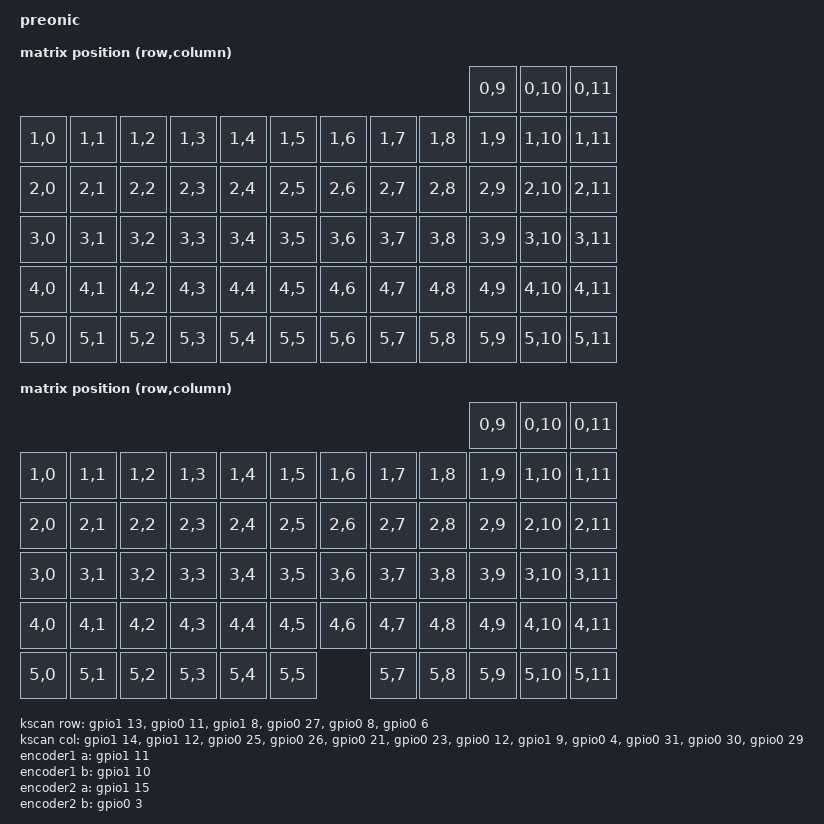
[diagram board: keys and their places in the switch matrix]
/*
 * Copyright (c) 2022 Pete Johanson
 *
 * SPDX-License-Identifier: MIT
 */

/dts-v1/;
#include <nordic/nrf52840_qiaa.dtsi>
#include <dt-bindings/led/led.h>
#include <dt-bindings/zmk/matrix_transform.h>
#include "keyboardio_preonic-layouts.dtsi"

/ {
	model = "preonic";
	compatible = "keyboardio,preonic";

	chosen {
		zephyr,code-partition = &code_partition;
		zephyr,sram = &sram0;
		zephyr,flash = &flash0;
		zmk,battery = &fuelgauge;
		zmk,underglow = &butterfly;
		zmk,kscan = &kscan;
        zmk,physical-layout = &mit_layout;
	};

	ortho_transform: ortho_transform {
		compatible = "zmk,matrix-transform";
		rows = <4>;
		columns = <12>;

		map = <
	                                                                        RC(0,9) RC(0,10) RC(0,11)
	RC(1,0) RC(1,1) RC(1,2) RC(1,3) RC(1,4) RC(1,5) RC(1,6) RC(1,7) RC(1,8) RC(1,9) RC(1,10) RC(1,11)
	RC(2,0) RC(2,1) RC(2,2) RC(2,3) RC(2,4) RC(2,5) RC(2,6) RC(2,7) RC(2,8) RC(2,9) RC(2,10) RC(2,11)
	RC(3,0) RC(3,1) RC(3,2) RC(3,3) RC(3,4) RC(3,5) RC(3,6) RC(3,7) RC(3,8) RC(3,9) RC(3,10) RC(3,11)
	RC(4,0) RC(4,1) RC(4,2) RC(4,3) RC(4,4) RC(4,5) RC(4,6) RC(4,7) RC(4,8) RC(4,9) RC(4,10) RC(4,11)
	RC(5,0) RC(5,1) RC(5,2) RC(5,3) RC(5,4) RC(5,5) RC(5,6) RC(5,7) RC(5,8) RC(5,9) RC(5,10) RC(5,11)
	>;
	};

	mit_transform: mit_transform {
		compatible = "zmk,matrix-transform";
		rows = <4>;
		columns = <12>;

		map = <
	                                                                        RC(0,9) RC(0,10) RC(0,11)
	RC(1,0) RC(1,1) RC(1,2) RC(1,3) RC(1,4) RC(1,5) RC(1,6) RC(1,7) RC(1,8) RC(1,9) RC(1,10) RC(1,11)
	RC(2,0) RC(2,1) RC(2,2) RC(2,3) RC(2,4) RC(2,5) RC(2,6) RC(2,7) RC(2,8) RC(2,9) RC(2,10) RC(2,11)
	RC(3,0) RC(3,1) RC(3,2) RC(3,3) RC(3,4) RC(3,5) RC(3,6) RC(3,7) RC(3,8) RC(3,9) RC(3,10) RC(3,11)
	RC(4,0) RC(4,1) RC(4,2) RC(4,3) RC(4,4) RC(4,5) RC(4,6) RC(4,7) RC(4,8) RC(4,9) RC(4,10) RC(4,11)
	RC(5,0) RC(5,1) RC(5,2) RC(5,3) RC(5,4)     RC(5,5)     RC(5,7) RC(5,8) RC(5,9) RC(5,10) RC(5,11)
	>;
	};

	kscan: kscan {
		compatible = "zmk,kscan-gpio-matrix";

		wakeup-source;

		diode-direction = "col2row";

		col-gpios
			= <&gpio1 14 (GPIO_ACTIVE_HIGH)>
			, <&gpio1 12 (GPIO_ACTIVE_HIGH)>
			, <&gpio0 25 (GPIO_ACTIVE_HIGH)>
			, <&gpio0 26 (GPIO_ACTIVE_HIGH)>
			, <&gpio0 21 (GPIO_ACTIVE_HIGH)>
			, <&gpio0 23 (GPIO_ACTIVE_HIGH)>
			, <&gpio0 12 (GPIO_ACTIVE_HIGH)>
			, <&gpio1 9  (GPIO_ACTIVE_HIGH)>
			, <&gpio0 4  (GPIO_ACTIVE_HIGH)>
			, <&gpio0 31 (GPIO_ACTIVE_HIGH)>
			, <&gpio0 30 (GPIO_ACTIVE_HIGH)>
			, <&gpio0 29 (GPIO_ACTIVE_HIGH)>
			;

		row-gpios
			= <&gpio1 13 (GPIO_ACTIVE_HIGH | GPIO_PULL_DOWN)>
			, <&gpio0 11 (GPIO_ACTIVE_HIGH | GPIO_PULL_DOWN)>
			, <&gpio1 8  (GPIO_ACTIVE_HIGH | GPIO_PULL_DOWN)>
			, <&gpio0 27 (GPIO_ACTIVE_HIGH | GPIO_PULL_DOWN)>
			, <&gpio0 8  (GPIO_ACTIVE_HIGH | GPIO_PULL_DOWN)>
			, <&gpio0 6  (GPIO_ACTIVE_HIGH | GPIO_PULL_DOWN)>
			;
	};

    // The pinout for the keyboard suggests that there are 3 available encoders.
    // However, the physical keyboard only has one...hmm.

    encoder1: encoder1 {
        compatible = "alps,ec11";
        a-gpios = <&gpio1 11 (GPIO_ACTIVE_LOW | GPIO_PULL_UP)>;
        b-gpios = <&gpio1 10 (GPIO_ACTIVE_LOW | GPIO_PULL_UP)>;
        steps = <24>;
        status = "disabled";
    };

    encoder2: encoder2 {
        compatible = "alps,ec11";
        a-gpios = <&gpio1 15 (GPIO_ACTIVE_LOW | GPIO_PULL_UP)>;
        b-gpios = <&gpio0 3  (GPIO_ACTIVE_LOW | GPIO_PULL_UP)>;
        steps = <24>;
        status = "disabled";
    };

    encoder3: encoder3 {
        compatible = "alps,ec11";
        a-gpios = <&gpio0 2  (GPIO_ACTIVE_LOW | GPIO_PULL_UP)>;
        b-gpios = <&gpio0 28 (GPIO_ACTIVE_LOW | GPIO_PULL_UP)>;
        steps = <24>;
        status = "okay";
    };

    sensors {
        compatible = "zmk,keymap-sensors";
        status = "okay";
        sensors = <&encoder3>;
        triggers-per-rotation = <12>;
    };
};

&pinctrl {
       i2c0_default: i2c0_default {
               group1 {
                       psels = <NRF_PSEL(TWIM_SDA, 0, 7)>,
                               <NRF_PSEL(TWIM_SCL, 0, 5)>;
               };
       };

       i2c0_sleep: i2c0_sleep {
               group1 {
                       psels = <NRF_PSEL(TWIM_SDA, 0, 7)>,
                               <NRF_PSEL(TWIM_SCL, 0, 5)>;
                       low-power-enable;
               };
       };

       spi3_default: spi3_default {
               group1 {
                       psels = <NRF_PSEL(SPIM_MOSI, 0, 24)>;
               };
       };

       spi3_sleep: spi3_sleep {
               group1 {
                       psels = <NRF_PSEL(SPIM_MOSI, 0, 24)>;
                       low-power-enable;
               };
       };
};

&spi3 {
    compatible = "nordic,nrf-spim";
    status = "okay";

    pinctrl-0 = <&spi3_default>;
    pinctrl-1 = <&spi3_sleep>;
    pinctrl-names = "default", "sleep";

    butterfly: ws2812@0 {
        compatible = "worldsemi,ws2812-spi";

        reg = <0>;
        spi-max-frequency = <4000000>;

        chain-length = <4>;
        spi-one-frame = <0x70>;
        spi-zero-frame = <0x40>;
        color-mapping = <LED_COLOR_ID_GREEN
                         LED_COLOR_ID_RED
                         LED_COLOR_ID_BLUE>;
    };
};


&i2c0 {
	status = "okay";
	compatible = "nordic,nrf-twim";
	pinctrl-0 = <&i2c0_default>;
	pinctrl-1 = <&i2c0_sleep>;
	pinctrl-names = "default", "sleep";
	clock-frequency = <100000>;

	fuelgauge: max17048@36 {
		compatible = "zmk,maxim-max17048";
		reg = <0x36>;
	};
};

&adc {
	status = "okay";
};

&gpiote {
	status = "okay";
};

&gpio0 {
	status = "okay";
};

&gpio1 {
	status = "okay";
    butterfly_power: ext_power_gpio {
        compatible = "zmk,ext-power-generic";
        status = "okay";
        control-gpios = <&gpio1 5 GPIO_ACTIVE_HIGH>;
    };
};


zephyr_udc0: &usbd {
	status = "okay";
};

&flash0 {
	/*
	 * For more information, see:
	 * http://docs.zephyrproject.org/latest/devices/dts/flash_partitions.html
	 */
	partitions {
		compatible = "fixed-partitions";
		#address-cells = <1>;
		#size-cells = <1>;

		sd_partition: partition@0 {
		    reg = <0x00000000 0x00026000>;
		};
		code_partition: partition@26000 {
		    reg = <0x00026000 0x000c6000>;
		};

		/*
		 * The flash starting at 0x000ec000 and ending at
		 * 0x000f3fff is reserved for use by the application.
		 */

		/*
		 * Storage partition will be used by FCB/LittleFS/NVS
		 * if enabled.
		 */
		storage_partition: partition@ec000 {
		    reg = <0x000ec000 0x00008000>;
		};

		boot_partition: partition@f4000 {
		    reg = <0x000f4000 0x0000c000>;
		};
	};
};

